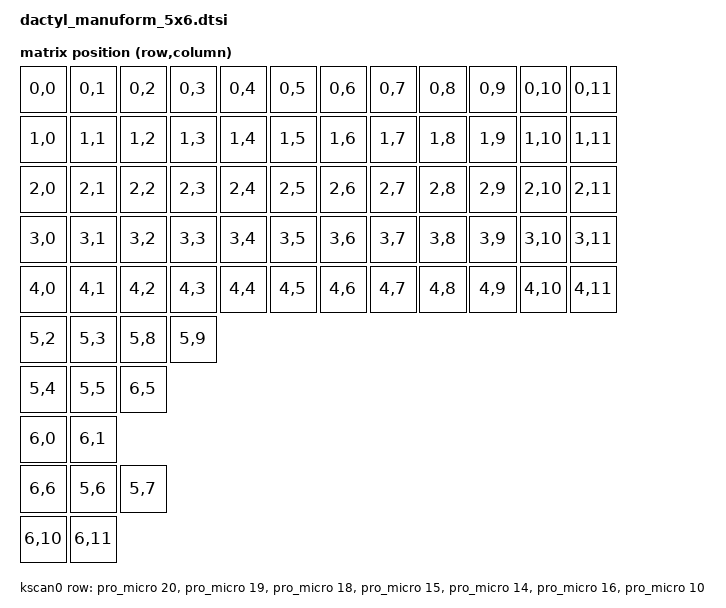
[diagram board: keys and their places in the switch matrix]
#include <dt-bindings/zmk/matrix_transform.h>

/ {
    chosen {
        zmk,kscan = &kscan0;
        zmk,matrix_transform = &default_transform;
    };

    default_transform: keymap_transform_0 {
        compatible = "zmk,matrix-transform";
        columns = <12>;
        rows = <7>;

// Physical layout — left half cols 0-5, right half cols 6-11
//
// Rows 0-4: main 5-row grid, 6 cols per side
// | R0C0  R0C1  R0C2  R0C3  R0C4  R0C5 |   | R0C6  R0C7  R0C8  R0C9  R0C10 R0C11 |  <- top nav row
// | R1C0  R1C1  R1C2  R1C3  R1C4  R1C5 |   | R1C6  R1C7  R1C8  R1C9  R1C10 R1C11 |  <- QWERTY
// | R2C0  R2C1  R2C2  R2C3  R2C4  R2C5 |   | R2C6  R2C7  R2C8  R2C9  R2C10 R2C11 |  <- home row
// | R3C0  R3C1  R3C2  R3C3  R3C4  R3C5 |   | R3C6  R3C7  R3C8  R3C9  R3C10 R3C11 |  <- bottom letters
// | R4C0  R4C1  R4C2  R4C3  R4C4  R4C5 |   | R4C6  R4C7  R4C8  R4C9  R4C10 R4C11 |  <- number row
//
// Row 5, cols 2-3 only: extra keys in middle columns (6th row for cols 2&3)
//                | R5C2  R5C3 |                           | R5C8  R5C9 |
//
// Thumb clusters — 4 positions per side (THMB.2 is already wired into RC(4,4)/RC(4,10)):
// Left:  LTHMB.1=RC(5,5)  LTHMB.0=RC(6,5)  LTHMB.3=RC(6,1)  LTHMB.4=RC(6,0)
// Right: RTHMB.1=RC(5,11) RTHMB.0=RC(6,11) RTHMB.3=RC(6,7)  RTHMB.4=RC(6,6)

        map = <
// Rows 0-4: main grid (left half then right half, combined into 12 cols)
RC(0,0)  RC(0,1)  RC(0,2)  RC(0,3)  RC(0,4)  RC(0,5)    RC(0,6)  RC(0,7)  RC(0,8)  RC(0,9)  RC(0,10) RC(0,11)
RC(1,0)  RC(1,1)  RC(1,2)  RC(1,3)  RC(1,4)  RC(1,5)    RC(1,6)  RC(1,7)  RC(1,8)  RC(1,9)  RC(1,10) RC(1,11)
RC(2,0)  RC(2,1)  RC(2,2)  RC(2,3)  RC(2,4)  RC(2,5)    RC(2,6)  RC(2,7)  RC(2,8)  RC(2,9)  RC(2,10) RC(2,11)
RC(3,0)  RC(3,1)  RC(3,2)  RC(3,3)  RC(3,4)  RC(3,5)    RC(3,6)  RC(3,7)  RC(3,8)  RC(3,9)  RC(3,10) RC(3,11)
RC(4,0)  RC(4,1)  RC(4,2)  RC(4,3)  RC(4,4)  RC(4,5)    RC(4,6)  RC(4,7)  RC(4,8)  RC(4,9)  RC(4,10) RC(4,11)
// Row 5 extra keys (middle cols only)
RC(5,2)  RC(5,3)    RC(5,8)  RC(5,9)
// Left thumb cluster
RC(5,4)  RC(5,5)  RC(6,5)  
RC(6,0)   RC(6,1)
// Right thumb cluster not working yet
RC(6,6)  RC(5,6)  RC(5,7)  
RC(6,10)  RC(6,11)
        >;
    };

    kscan0: kscan {
        compatible = "zmk,kscan-gpio-matrix";
        label = "KSCAN";
        diode-direction = "col2row";
        row-gpios
            = <&pro_micro 20 (GPIO_ACTIVE_HIGH | GPIO_PULL_DOWN)>   // Row 0 - P0.29
            , <&pro_micro 19 (GPIO_ACTIVE_HIGH | GPIO_PULL_DOWN)>   // Row 1 - P0.02
            , <&pro_micro 18 (GPIO_ACTIVE_HIGH | GPIO_PULL_DOWN)>   // Row 2 - P1.15
            , <&pro_micro 15 (GPIO_ACTIVE_HIGH | GPIO_PULL_DOWN)>   // Row 3 - P1.13
            , <&pro_micro 14 (GPIO_ACTIVE_HIGH | GPIO_PULL_DOWN)>   // Row 4 - P1.11
            , <&pro_micro 16 (GPIO_ACTIVE_HIGH | GPIO_PULL_DOWN)>   // Row 5 - P0.10
            , <&pro_micro 10 (GPIO_ACTIVE_HIGH | GPIO_PULL_DOWN)>   // Row 6 - P0.09
            ;
    };
};
